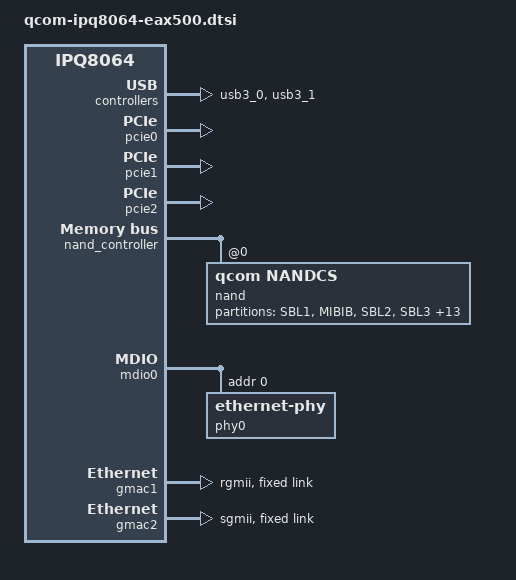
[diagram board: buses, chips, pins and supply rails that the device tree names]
// SPDX-License-Identifier: GPL-2.0-or-later OR MIT

#include "qcom-ipq8064-v2.0.dtsi"

#include <dt-bindings/input/input.h>

/ {
	chosen {
		bootargs = "console=ttyMSM0,115200n8";
		/* append to bootargs adding the root deviceblock nbr from bootloader */
		append-rootblock = "ubi.mtd=";
	};
};

&usb3_0 {
	status = "okay";
};

&usb3_1 {
	status = "okay";
};

&pcie0 {
	status = "okay";

	max-link-speed = <1>;
};

&pcie1 {
	status = "okay";
};

&pcie2 {
	status = "okay";
};

&nand_controller {
	status = "okay";

	pinctrl-0 = <&nand_pins>;
	pinctrl-names = "default";

	nand@0 {
		reg = <0>;
		compatible = "qcom,nandcs";

		nand-ecc-strength = <4>;
		nand-bus-width = <8>;
		nand-ecc-step-size = <512>;

		nand-is-boot-medium;
		qcom,boot_pages_size = <0x0c80000>;

		partitions: partitions {
			compatible = "fixed-partitions";
			#address-cells = <1>;
			#size-cells = <1>;

			partition@0 {
				label = "SBL1";
				reg = <0x0000000 0x0040000>;
				read-only;
			};

			partition@40000 {
				label = "MIBIB";
				reg = <0x0040000 0x0140000>;
				read-only;
			};

			partition@180000 {
				label = "SBL2";
				reg = <0x0180000 0x0140000>;
				read-only;
			};

			partition@2c0000 {
				label = "SBL3";
				reg = <0x02c0000 0x0280000>;
				read-only;
			};

			partition@540000 {
				label = "DDRCONFIG";
				reg = <0x0540000 0x0120000>;
				read-only;
			};

			partition@660000 {
				label = "SSD";
				reg = <0x0660000 0x0120000>;
				read-only;
			};

			partition@780000 {
				label = "TZ";
				reg = <0x0780000 0x0280000>;
				read-only;
			};

			partition@a00000 {
				label = "RPM";
				reg = <0x0a00000 0x0280000>;
				read-only;
			};

			art: partition@c80000 {
				label = "art";
				reg = <0x0c80000 0x0140000>;
				read-only;
			};

			partition@dc0000 {
				label = "APPSBL";
				reg = <0x0dc0000 0x0100000>;
				read-only;
			};

			partition@ec0000 {
				label = "u_env";
				reg = <0x0ec0000 0x0040000>;
			};

			partition@f00000 {
				label = "s_env";
				reg = <0x0f00000 0x0040000>;
			};

			partition@f40000 {
				label = "devinfo";
				reg = <0x0f40000 0x0040000>;
			};

			partition@f80000 {
				label = "kernel1";
				reg = <0x0f80000 0x2800000>;  /* 3 MB spill to rootfs */
			};

			partition@1280000 {
				label = "rootfs1";
				reg = <0x1280000 0x2500000>;
			};

			partition@3780000 {
				label = "kernel2";
				reg = <0x3780000 0x2800000>;
			};

			partition@3a80000 {
				label = "rootfs2";
				reg = <0x3a80000 0x2500000>;
			};
		};
	};
};

&mdio0 {
	status = "okay";

	pinctrl-0 = <&mdio0_pins>;
	pinctrl-names = "default";

	phy0: ethernet-phy@0 {
		reg = <0>;
		qca,ar8327-initvals = <
			0x00004 0x7600000   /* PAD0_MODE */
			0x00008 0x1000000   /* PAD5_MODE */
			0x0000c 0x80        /* PAD6_MODE */
			0x00010 0x2613a0    /* PWS_REG */
			0x000e4 0x6a545     /* MAC_POWER_SEL */
			0x000e0 0xc74164de  /* SGMII_CTRL */
			0x0007c 0x4e        /* PORT0_STATUS */
			0x00094 0x4e        /* PORT6_STATUS */
			>;
	};
};

&gmac1 {
	status = "okay";

	phy-mode = "rgmii";
	qcom,id = <1>;

	pinctrl-0 = <&rgmii2_pins>;
	pinctrl-names = "default";

	fixed-link {
		speed = <1000>;
		full-duplex;
	};
};

&gmac2 {
	status = "okay";

	phy-mode = "sgmii";
	qcom,id = <2>;

	fixed-link {
		speed = <1000>;
		full-duplex;
	};
};

&adm_dma {
	status = "okay";
};
